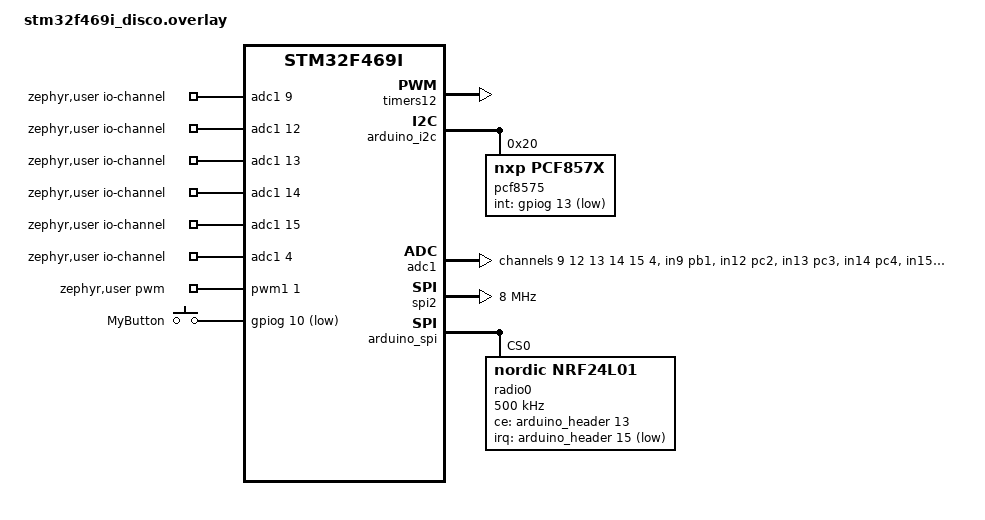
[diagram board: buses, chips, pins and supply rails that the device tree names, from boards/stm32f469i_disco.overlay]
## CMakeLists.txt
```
#-------------------------------------------------------------------------------
# Zephyr Example Application
#
# Copyright (c) 2021 Nordic Semiconductor ASA
# SPDX-License-Identifier: Apache-2.0

cmake_minimum_required(VERSION 3.20.0)
set(SYSCALL_INCLUDE_DIRS "${CMAKE_CURRENT_SOURCE_DIR}/../include")

find_package(Zephyr REQUIRED HINTS $ENV{ZEPHYR_BASE})
include_directories(ui)
project(app LANGUAGES C)
file(GLOB SOURCES src/main.c src/model.c src/platform.h ui/*.h ui/*.c)
target_sources(app PRIVATE ${SOURCES})
```

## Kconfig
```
# Copyright (c) 2021 Nordic Semiconductor ASA
# SPDX-License-Identifier: Apache-2.0
#
# This file is the application Kconfig entry point. All application Kconfig
# options can be defined here or included via other application Kconfig files.
# You can browse these options using the west targets menuconfig (terminal) or
# guiconfig (GUI).

menu "Zephyr"
source "Kconfig.zephyr"
endmenu

config ROLE
	int "Role"
	default "0"
	help
		"Choose which role the device is supposed to take.
		There are three choices, 0, 1 or 2 (Alice, Bob and Eve)."

module = APP
module-str = APP
source "subsys/logging/Kconfig.template.log_config"
```

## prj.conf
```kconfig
# Copyright (c) 2021 Nordic Semiconductor ASA
# SPDX-License-Identifier: Apache-2.0
#
# This file contains selected Kconfig options for the application.

CONFIG_SPI=y
CONFIG_NRF24L01=y
CONFIG_NRF24L01_TRIGGER=y

CONFIG_DMA=y
CONFIG_ADC=y
CONFIG_ADC_STM32_DMA=y
CONFIG_ADC_ASYNC=y
CONFIG_PWM=y

CONFIG_HEAP_MEM_POOL_SIZE=4096

CONFIG_LV_Z_MEM_POOL_SIZE=32768
CONFIG_LV_Z_SHELL=y
CONFIG_MAIN_STACK_SIZE=16384

CONFIG_DISPLAY=y
CONFIG_DISPLAY_LOG_LEVEL_ERR=y

CONFIG_INPUT=y
# CONFIG_INPUT_MODE_THREAD=y

CONFIG_LOG=y
CONFIG_SHELL=y
CONFIG_SYSTEM_WORKQUEUE_PRIORITY=0

CONFIG_GPIO=y
CONFIG_I2C=y
# CONFIG_GPIO_PCF857X=y

CONFIG_SYSTEM_WORKQUEUE_STACK_SIZE=2048

CONFIG_LVGL=y
CONFIG_LV_USE_LOG=y
CONFIG_LV_USE_LABEL=y
CONFIG_LV_USE_ARC=y
#CONFIG_LV_USE_BTN=y
#CONFIG_LV_USE_BTNMATRIX=y
CONFIG_LV_USE_BAR=y
#CONFIG_LV_USE_IMG=y
CONFIG_LV_USE_SWITCH=y
CONFIG_LV_USE_TABVIEW=y
#CONFIG_LV_USE_TAB=y
CONFIG_LV_USE_MONKEY=y
CONFIG_LV_FONT_MONTSERRAT_18=y
CONFIG_LV_FONT_MONTSERRAT_40=y
```

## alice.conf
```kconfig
# Copyright (c) 2021 Nordic Semiconductor ASA
# SPDX-License-Identifier: Apache-2.0
#
# This file contains selected Kconfig options for the application.

CONFIG_SPI=y
CONFIG_NRF24L01=y
CONFIG_NRF24L01_TRIGGER=y

CONFIG_LOG=y
CONFIG_APP_LOG_LEVEL_INF=y
CONFIG_NRF24L01_LOG_LEVEL_ERR=y

CONFIG_ROLE=0
```

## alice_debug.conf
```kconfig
# Copyright (c) 2021 Nordic Semiconductor ASA
# SPDX-License-Identifier: Apache-2.0
#
# This is a Kconfig fragment which can be used to enable debug-related options
# in the application. See the README for more details.
#
CONFIG_SPI=y
CONFIG_NRF24L01=y
CONFIG_NRF24L01_TRIGGER=y

# compiler
CONFIG_DEBUG_OPTIMIZATIONS=y

# console
CONFIG_CONSOLE=y

# UART console
CONFIG_SERIAL=y
CONFIG_UART_CONSOLE=y

# logging
CONFIG_LOG=y
CONFIG_APP_LOG_LEVEL_DBG=y
CONFIG_NRF24L01_LOG_LEVEL_DBG=y

CONFIG_ROLE=0
```

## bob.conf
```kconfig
# Copyright (c) 2021 Nordic Semiconductor ASA
# SPDX-License-Identifier: Apache-2.0
#
# This file contains selected Kconfig options for the application.

CONFIG_SPI=y
CONFIG_NRF24L01=y
CONFIG_NRF24L01_TRIGGER=y

CONFIG_LOG=y
CONFIG_APP_LOG_LEVEL_INF=y
CONFIG_NRF24L01_LOG_LEVEL_ERR=y

CONFIG_ROLE=1
```

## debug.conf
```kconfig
# Copyright (c) 2021 Nordic Semiconductor ASA
# SPDX-License-Identifier: Apache-2.0
#
# This is a Kconfig fragment which can be used to enable debug-related options
# in the application. See the README for more details.
#
CONFIG_SPI=y
CONFIG_NRF24L01=y
CONFIG_NRF24L01_TRIGGER=y

# compiler
CONFIG_DEBUG_OPTIMIZATIONS=y

# console
CONFIG_CONSOLE=y

# UART console
CONFIG_SERIAL=y
CONFIG_UART_CONSOLE=y

# logging
CONFIG_LOG=y
CONFIG_APP_LOG_LEVEL_DBG=y
CONFIG_NRF24L01_LOG_LEVEL_DBG=y
```

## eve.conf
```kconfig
# Copyright (c) 2021 Nordic Semiconductor ASA
# SPDX-License-Identifier: Apache-2.0
#
# This file contains selected Kconfig options for the application.

CONFIG_SPI=y
CONFIG_NRF24L01=y
CONFIG_NRF24L01_TRIGGER=y

CONFIG_LOG=y
CONFIG_APP_LOG_LEVEL_INF=y
CONFIG_NRF24L01_LOG_LEVEL_ERR=y

CONFIG_ROLE=2
```

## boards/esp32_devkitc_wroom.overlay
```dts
/*
 * Copyright (c) 2024 Eve Redero
 * SPDX-License-Identifier: Apache-2.0
 */

&pinctrl {
spim2_default: spim2_default {
		group1 {
			pinmux = <SPIM2_MISO_GPIO2>,
				 <SPIM2_MOSI_GPIO15>,
				 <SPIM2_SCLK_GPIO14>;
		};
	};
};

&spi2 {
	#address-cells = <1>;
	#size-cells = <0>;
	status = "okay";
	pinctrl-0 = <&spim2_default>;
	pinctrl-names = "default";
	cs-gpios = <&gpio0 10 GPIO_ACTIVE_LOW>;

	radio0: propy_radio@0 {
		reg = <0>;
		compatible = "nordic,nrf24l01";
		status = "okay";
		addr-width = <4>;
		spi-max-frequency = <500000>; // Max 8 Mbps for SPI
		ce-gpios = <&gpio0 16 GPIO_ACTIVE_HIGH>;
		irq-gpios = <&gpio0 17 GPIO_ACTIVE_LOW>;
		channel-frequency = <16>;
		rf-power-attenuation = <18>;
		lna-gain;
		tx-address = [e7 e7 e7 e7];
		rx-datapipes-number = <2>;
		rx-datapipe0-address = [e7 e7 e7 e7];
		rx-datapipe1-address = [de ad de ad];
		payload-fixed-size = <32>;
		payload-ack;
		payload-crc;
	};
};
```

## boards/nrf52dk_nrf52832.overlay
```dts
/*
 * Copyright (c) 2024 Eve Redero
 * SPDX-License-Identifier: Apache-2.0
 */

&arduino_spi {
/* MOSI on D11 / P0.23 */
/* CS on D10*/
	radio0: propy_radio@0 {
		reg = <0>;
		compatible = "nordic,nrf24l01";
		status = "okay";
		addr-width = <4>;
		spi-max-frequency = <500000>; // Max 8 Mbps for SPI
		ce-gpios = <&arduino_header 14 GPIO_ACTIVE_HIGH>; /* D8 */
		irq-gpios = <&arduino_header 15 GPIO_ACTIVE_LOW>; /* D9 */
		channel-frequency = <16>;
		rf-power-attenuation = <18>;
		lna-gain;
		tx-address = [e7 e7 e7 e7];
		payload-fixed-size = <32>;
		rx-datapipes-number = <2>;
		rx-datapipe0-address = [e7 e7 e7 e7];
		rx-datapipe1-address = [de ad de ad];
		payload-ack;
		payload-crc;
	};
};
```

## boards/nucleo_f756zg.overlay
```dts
/*
 * Copyright (c) 2024 Eve Redero
 * SPDX-License-Identifier: Apache-2.0
 */

&spi1 {
	pinctrl-0 = <&spi1_sck_pb3 &spi1_miso_pb4 &spi1_mosi_pb5>;
	pinctrl-names = "default";
	cs-gpios = <&gpioa 4 GPIO_ACTIVE_LOW>;
	clock-frequency = <8000000>; // Max 8 Mbps for SPI
	status = "okay";

	radio0: propy_radio@0 {
		reg = <0>;
		addr-width = <4>;
		compatible = "nordic,nrf24l01";
		status = "okay";
		spi-max-frequency = <500000>; // This really sets frequency
		ce-gpios = <&gpiod 15 GPIO_ACTIVE_HIGH>;
		irq-gpios = <&gpiod 14 GPIO_ACTIVE_LOW>;
		channel-frequency = <16>;
		rf-power-attenuation = <18>;
		lna-gain;
		tx-address = [e7 e7 e7 e7];
		payload-fixed-size = <32>;
		rx-datapipes-number = <2>;
		rx-datapipe0-address = [e7 e7 e7 e7];
		rx-datapipe1-address = [de ad de ad];
		payload-ack;
		payload-crc;
	};
};
```

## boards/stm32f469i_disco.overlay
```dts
/*
 * Copyright (c) 2025 Philippe Peurichard
 * SPDX-License-Identifier: Apache-2.0
 */

/ {
	zephyr,user {
		/* adjust channel number according to pinmux in board.dts */
		io-channels = <&adc1 9>, <&adc1 12>,
			<&adc1 13>, <&adc1 14>,
			<&adc1 15>, <&adc1 4>;

		/* period cell corresponds to initial period */
		pwms = <&pwm1 1 PWM_HZ(1000) PWM_POLARITY_NORMAL>;
	};

	gpio_keys {
		compatible = "gpio-keys";

		user_button: button {
			label = "MyButton";
			gpios = <&gpiog 10 (GPIO_ACTIVE_LOW|GPIO_PULL_UP)>;
			/* zephyr,code = <INPUT_KEY_0>;*/
		};
	};
};

&timers12 {
	st,prescaler = <8>;
	status = "okay";

	pwm1: pwm {
		pinctrl-0 = <&tim12_ch1_ph6>;
		pinctrl-names = "default";
		#pwm-cells = <3>;
		status = "okay";
	};
};


/* Activation I2C1 (Arduino connector) */
&arduino_i2c {
    status = "okay";

    pcf8575: gpio_expander@20 {
        compatible = "nxp,pcf857x";
        reg = <0x20>;
        gpio-controller;
        #gpio-cells = <2>;
		ngpios = <16>;
		int-gpios = <&gpiog 13 GPIO_ACTIVE_LOW>;
        status = "okay";
    };
};


&dma2 {
	status = "okay";
};

&adc1 {
	#address-cells = <1>;
	#size-cells = <0>;
	status = "okay";
	pinctrl-0 = <&adc1_in9_pb1>, <&adc1_in12_pc2>,
		<&adc1_in13_pc3>, <&adc1_in14_pc4>,
		<&adc1_in15_pc5>, <&adc1_in4_pa4>;
	pinctrl-names = "default";
	st,adc-prescaler = <2>;

	dmas = <&dma2 0 0 (STM32_DMA_PERIPH_RX | STM32_DMA_PERIPH_16BITS | STM32_DMA_MEM_16BITS ) STM32_DMA_FIFO_FULL>;
	dma-names = "dma";

	channel@9 {
		reg = <9>;
		zephyr,gain = "ADC_GAIN_1";
		zephyr,reference = "ADC_REF_INTERNAL";
		zephyr,acquisition-time = <ADC_ACQ_TIME_MAX>;
		zephyr,resolution = <12>;
	};
	channel@c {
		reg = <0xc>;
		zephyr,gain = "ADC_GAIN_1";
		zephyr,reference = "ADC_REF_INTERNAL";
		zephyr,acquisition-time = <ADC_ACQ_TIME_MAX>;
		zephyr,resolution = <12>;
	};
	channel@d {
		reg = <0xd>;
		zephyr,gain = "ADC_GAIN_1";
		zephyr,reference = "ADC_REF_INTERNAL";
		zephyr,acquisition-time = <ADC_ACQ_TIME_MAX>;
		zephyr,resolution = <12>;
	};
	channel@e {
		reg = <0xe>;
		zephyr,gain = "ADC_GAIN_1";
		zephyr,reference = "ADC_REF_INTERNAL";
		zephyr,acquisition-time = <ADC_ACQ_TIME_MAX>;
		zephyr,resolution = <12>;
	};
	channel@f {
		reg = <0xf>;
		zephyr,gain = "ADC_GAIN_1";
		zephyr,reference = "ADC_REF_INTERNAL";
		zephyr,acquisition-time = <ADC_ACQ_TIME_MAX>;
		zephyr,resolution = <12>;
	};
	channel@4 {
		reg = <4>;
		zephyr,gain = "ADC_GAIN_1";
		zephyr,reference = "ADC_REF_INTERNAL";
		zephyr,acquisition-time = <ADC_ACQ_TIME_MAX>;
		zephyr,resolution = <12>;
	};
};

&spi2 {
	cs-gpios = <&arduino_header 10 (GPIO_ACTIVE_LOW|GPIO_PULL_UP)>;
	clock-frequency = <8000000>; // Max 8 Mbps for SPI

};


&arduino_spi {
	radio0: nrf24@0 {
		reg = <0>;
		compatible = "nordic,nrf24l01";
		status = "okay";
		addr-width = <5>;
		spi-max-frequency = <500000>; // Max 8 Mbps for SPI
		ce-gpios = <&arduino_header 13 GPIO_ACTIVE_HIGH>; /* D7 */
		irq-gpios = <&arduino_header 15 GPIO_ACTIVE_LOW>; /* D9 */
		channel-frequency = <76>;
		lna-gain;
		rf-power-attenuation = <18>;
		tx-address = [01 00 00 00 01]; // [ab cd ab cd 71];
		payload-fixed-size = <32>;
		rx-datapipes-number = <2>;
		rx-datapipe0-address = [01 00 00 00 01]; // [ab cd ab cd 71];
		rx-datapipe1-address = [ff 00 00 00 ff]; // [ab cd ab cd 72];
		/* payload-ack; */
		payload-crc;
		crc-encoding-twobytes;
	};
};
```

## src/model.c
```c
/*
 * model.c
 *
 * Persistent model storage section definition.
 * The model array is placed in a dedicated linker section so it can be
 * stored in flash / read-only storage.
 */

#include "model.h"
#include "vars.h"

#ifndef MODEL_FLASH_SECTION
#define MODEL_FLASH_SECTION __attribute__((section(".rodata.model_data")))
#endif

#include <string.h>

/* Persistent storage for the active model index. A value of 0xFF means
 * "not set" and should cause initialization to the first model (index 0).
 * Placed in the same read-only model data section so tools/linker can
 * locate it in persistent storage imagery.
 */
uint8_t active_model_index = 0xFF;
model_t model_storage[MODEL_MAX_COUNT] = {0};

/**
 * @brief Create a new model slot.
 *
 * Allocates the first available model slot, initializes the channel map
 * data to safe defaults, and stores the model name.
 *
 * @param name Null-terminated model name.
 * @return Model index (0..MODEL_MAX_COUNT-1) on success, 0xFF on error.
 */
uint8_t model_create(const char *name)
{
    for (uint8_t i = 0; i < MODEL_MAX_COUNT; i++) {
        if (model_storage[i].used == false) {
            memset(model_storage[i].name, 0, MODEL_NAME_MAX);
            for (uint8_t j = 0; j < MAX_CHANNELS; j++) {
                model_storage[i].ch[j].min = 0+CALIBRATION_OFFSET;
                model_storage[i].ch[j].max = ADC_MAX_VALUE-CALIBRATION_OFFSET;
                model_storage[i].ch[j].center = ADC_MAX_VALUE / 2;
                model_storage[i].ch[j].input = ADC_MAX_VALUE / 2;
                model_storage[i].ch[j].is_reversed = false;
                model_storage[i].ch[j].map = def_map;
            }
            /* Default CH1..CH4 selections: ROULIS, TANGAGE, GAZ, LACET. */
            model_storage[i].channel_selection[0] = ROULIS;
            model_storage[i].channel_selection[1] = TANGAGE;
            model_storage[i].channel_selection[2] = GAZ;
            model_storage[i].channel_selection[3] = LACET;
            model_storage[i].used = true;
            strncpy(model_storage[i].name, name, MODEL_NAME_MAX - 1);
            model_storage[i].name[MODEL_NAME_MAX - 1] = '\0';
            set_var_device_name(model_storage[i].name);
            set_var_device_list(model_storage[i].name);
            return i;
        }
    }
    return 0xFF; // No available slot
}

/**
 * @brief Find the first used model slot.
 *
 * @return Index of the first used model, or 0xFF if none are in use.
 */
uint8_t model_find_used_index(void)
{
    for (uint8_t i = 0; i < MODEL_MAX_COUNT; i++) {
        if (model_storage[i].used) {
            return i;
        }
    }

    return 0xFF;
}

/**
 * @brief Get a model name by index.
 *
 * @param index Model index.
 * @return Pointer to the model name string, or NULL if invalid or unused.
 */
const char *model_name_get(int index)
{
    if (index < 0 || index >= MODEL_MAX_COUNT){
        return NULL;
    }
    return model_storage[index].name;
}

/**
 * @brief Load the active model channel map.
 *
 * Loads the model identified by the given name into the provided channel map array.
 *
 * @param name Pointer to model name.
 * @param ch_array Destination channel map array.
 * @return active model index or 0xFF in case of error.
 */
uint8_t load_model(const char *model_name, struct channel_map *ch_array)
{
    uint8_t channel_selection[MODEL_SELECTION_COUNT] = {ROULIS, TANGAGE, GAZ, LACET};

	/* Find model by name */
	uint8_t idx = 0xFF;
	for (uint8_t i = 0; i < MODEL_MAX_COUNT; i++) {
		if (strcmp(model_storage[i].name, model_name) == 0) {
			idx = i;
			break;
		}
	}
	if (idx == 0xFF) {
		return 0xFF; // Model not found
	}

	if (idx >= MODEL_MAX_COUNT) {
		return 0xFF;
	}

	memcpy(ch_array, model_storage[idx].ch, sizeof(model_storage[idx].ch));

    memcpy(channel_selection,
               model_storage[idx].channel_selection,
               MODEL_SELECTION_COUNT * sizeof(model_storage[idx].channel_selection[0]));
    set_var_selection1(channel_selection[0]);
	set_var_selection2(channel_selection[1]);
	set_var_selection3(channel_selection[2]);
	set_var_selection4(channel_selection[3]);
    model_storage[idx].used = true; // Ensure the slot is marked as used
    set_var_device_name(model_storage[idx].name);
	
	return 0;
}

/**
 * @brief Save channel map data into an existing model slot.
 *
 * @param index Model index.
 * @param data Pointer to channel map data.
 * @return 0 on success, 1 on invalid index or null data.
 */
uint8_t model_save(int index, const struct channel_map *map, const uint8_t *sel)
{
    if (index >= MODEL_MAX_COUNT || map == NULL || !model_storage[index].used) {
        return 1; // Invalid index, null map, or unused slot
    }
    model_storage[index].used = true; // Ensure the slot is marked as used
    memcpy(model_storage[index].name, get_var_device_name(), MODEL_NAME_MAX);
    memcpy(model_storage[index].ch, map, sizeof(model_storage[index].ch));
    if (sel != NULL) {
        memcpy(model_storage[index].channel_selection,
               sel,
               MODEL_SELECTION_COUNT * sizeof(model_storage[index].channel_selection[0]));
    }
    return 0; // Success
}

/**
 * @brief Remove a model slot 
 * Warning this function does not manage the active_model_index,
 * so if you remove the active model, you should set the
 * active_model_index to 0xFF or another valid index.
 *
 * Marks the model slot as unused and clears its data.
 * @param index Model index to remove.
 * @return 0 on success, 1 on invalid index.
 */
uint8_t model_remove(int index)
{
    if (index >= MODEL_MAX_COUNT) {
        return 1; // Invalid index
    }

    model_storage[index].used = false;
    memset(model_storage[index].name, 0, MODEL_NAME_MAX);
    memset(model_storage[index].ch, 0, sizeof(model_storage[index].ch));

    return 0; // Success
}
```

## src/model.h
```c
/*
 * model.h
 *
 * Simple model management for RC remote controller application.
 * A "model" is a named set of settings (opaque byte buffer).
 * Supports up to MODEL_MAX_COUNT models.
 */
#ifndef RC_REMOTE_CONTROLLER_MODEL_H
#define RC_REMOTE_CONTROLLER_MODEL_H

#include <stdint.h>
#include <stddef.h>
#include <stdbool.h>
#include "platform.h"

#ifdef __cplusplus
extern "C" {
#endif

/* Configuration */
#ifndef MODEL_MAX_COUNT
#define MODEL_MAX_COUNT 6
#endif

#ifndef MODEL_NAME_MAX
#define MODEL_NAME_MAX 32
#endif

#ifndef MODEL_SELECTION_COUNT
#define MODEL_SELECTION_COUNT 4
#endif

/* Channel mapping function type and structure
 * These match the application's channel mapping concept and allow
 * models to store per-channel mapping settings directly.
 */
typedef uint8_t (*map_t)(
    const uint16_t min,
    const uint16_t max,
    const uint16_t center,
          uint16_t data,
    const bool is_reversed);

struct channel_map {
    uint16_t min;
    uint16_t max;
    uint16_t center;
    uint16_t input;
    bool is_reversed;
    map_t map;
};

/* Model stores a named `struct channel_map` as its payload. */
typedef struct {
    bool used;                          /* slot in use */
    char name[MODEL_NAME_MAX];          /* NUL-terminated name */
    struct channel_map ch[MAX_CHANNELS];              /* channel mapping data */
    uint8_t channel_selection[MODEL_SELECTION_COUNT]; /* ch1..ch4 selected source channel */
} model_t;

#ifndef MODEL_FLASH_SECTION
#define MODEL_FLASH_SECTION __attribute__((section(".rodata.model_data")))
#endif

/* The persistent model list is placed in a dedicated linker section.
 * Using `.rodata.model_data` keeps the array in read-only flash storage,
 * and __attribute__((used)) prevents the linker from discarding it.
 */
extern model_t model_storage[MODEL_MAX_COUNT];
extern uint8_t active_model_index;
extern uint8_t def_map(
	const uint16_t min,
	const uint16_t max,
	const uint16_t center,
	      uint16_t data,
	const bool is_reversed);

/* Create a new model with the given name .
 * Returns index (0..MODEL_MAX_COUNT-1) on success or 0xFF on error.
 */
uint8_t model_create(const char *name);

/* Find the first used model slot.
 * Returns the valid index on success or 0xFF if no used model exists.
 */
uint8_t model_find_used_index(void);

/* Overwrite an existing model's data. Returns 0 on success, 1 on error. */
uint8_t model_save(int index, const struct channel_map *map, const uint8_t *sel);

/* Remove a model at index. Returns 0 on success, 1 on error. */
uint8_t model_remove(int index);

/* Get model name by index, or NULL if invalid/unused. */
const char *model_name_get(int index);

/**
 * @brief Load the active model channel map.
 *
 * Loads the model identified by the given name into the provided channel map array.
 *
 * @param name Pointer to model name.
 * @param ch_array Destination channel map array.
 * @return active model index or 0xFF in case of error.
 */
uint8_t load_model(const char *model_name, struct channel_map *ch_array);


#ifdef __cplusplus
}
#endif

#endif /* RC_REMOTE_CONTROLLER_MODEL_H */
```

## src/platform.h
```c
/*
 * Project : rc_remote_controller
 * File    : platform.h
 * Author  : Philippe Peurichard <p.peurichard@gmail.com>
 * Date    : 2026-06-07
 * Brief   : Platform configuration and common macros
 * License : Apache-2.0
 *
 * Copyright (C) 2026 Philippe Peurichard <p.peurichard@gmail.com>
 * SPDX-License-Identifier: Apache-2.0
 */

typedef enum {
	ROULIS = 0,
	TANGAGE = 1,
	GAZ = 2,
	LACET = 3,
	AUX1 = 4,
	AUX2 = 5
} index_name_t;

/* size of stack area used by each thread */
#define STACKSIZE 1024

/* scheduling defaullt priority used for thread */
#define PRIORITY_BUZZER 7
#define PRIORITY_RADIO 6
#define PRIORITY_ADC 5

/* Startup delays for each thread */
#define RADIO_STARTUP_DELAY     500
#define ADC_STARTUP_DELAY       500+RADIO_STARTUP_DELAY
#define BUZZER_STARTUP_DELAY    500+ADC_STARTUP_DELAY


/* Maximum number of channels */
#define MAX_CHANNELS 6

/* Maximum number of auxiliary channels */
#define MAX_AUX_CHANNELS 4


/* Debounce time in milliseconds */
#define DEBOUNCE_TIME_MS 20

/* Payload size for NRF24L01+ communication */
#define PAYLOAD_SIZE 32

/*  ADC Resolution */
#define ADC_RESOLUTION 12
#define ADC_MAX_VALUE ((1 << ADC_RESOLUTION) - 1)
/* Calibration offset for ADC values */
#define CALIBRATION_OFFSET 40*ADC_MAX_VALUE/255 // Example offset, adjust based on actual calibration results

/* PCF8575 is used with buttons, here is the mapping */
#define TRIM_JOYSTICK_ROULIS_UP    0
#define IS_TRIM_JOYSTICK_ROULIS_UP_ACTIVATED(pins) (((pins) & (1 << TRIM_JOYSTICK_ROULIS_UP)) == 0)
#define TRIM_JOYSTICK_ROULIS_DOWN  1
#define IS_TRIM_JOYSTICK_ROULIS_DOWN_ACTIVATED(pins) (((pins) & (1 << TRIM_JOYSTICK_ROULIS_DOWN)) == 0)
#define TRIM_JOYSTICK_TANGAGE_UP   6
#define IS_TRIM_JOYSTICK_TANGAGE_UP_ACTIVATED(pins) (((pins) & (1 << TRIM_JOYSTICK_TANGAGE_UP)) == 0)
#define TRIM_JOYSTICK_TANGAGE_DOWN 7
#define IS_TRIM_JOYSTICK_TANGAGE_DOWN_ACTIVATED(pins) (((pins) & (1 << TRIM_JOYSTICK_TANGAGE_DOWN)) == 0)
#define TRIM_JOYSTICK_LACET_UP     8
#define IS_TRIM_JOYSTICK_LACET_UP_ACTIVATED(pins) (((pins) & (1 << TRIM_JOYSTICK_LACET_UP)) == 0)
#define TRIM_JOYSTICK_LACET_DOWN   9
#define IS_TRIM_JOYSTICK_LACET_DOWN_ACTIVATED(pins) (((pins) & (1 << TRIM_JOYSTICK_LACET_DOWN)) == 0)
#define TRIM_JOYSTICK_GAZ_UP       2
#define IS_TRIM_JOYSTICK_GAZ_UP_ACTIVATED(pins) (((pins) & (1 << TRIM_JOYSTICK_GAZ_UP)) == 0)
#define TRIM_JOYSTICK_GAZ_DOWN     12
#define IS_TRIM_JOYSTICK_GAZ_DOWN_ACTIVATED(pins) (((pins) & (1 << TRIM_JOYSTICK_GAZ_DOWN)) == 0)

#define TRIM_INCREMENT (2*ADC_MAX_VALUE/255) // 2 steps increment for trimming, adjust as needed

// ON/OFF switches
#define SWITCH_SW_1 5
#define IS_SWITCH_SW_1_ACTIVATED(pins) (((pins) & (1 << SWITCH_SW_1)) == 0)
#define SWITCH_SW_2 10
#define IS_SWITCH_SW_2_ACTIVATED(pins) (((pins) & (1 << SWITCH_SW_2)) == 0)
#define SWITCH_SW_3 11
#define IS_SWITCH_SW_3_ACTIVATED(pins) (((pins) & (1 << SWITCH_SW_3)) == 0)
#define SWITCH_SW_4 13
#define IS_SWITCH_SW_4_ACTIVATED(pins) (((pins) & (1 << SWITCH_SW_4)) == 0)


// Push buttons
#define SWITCH_SW_A_UP      3
#define IS_SWITCH_SW_A_UP_ACTIVATED(pins) (((pins) & (1 << SWITCH_SW_A_UP)) == 0)
#define SWITCH_SW_A_DOWN    4
#define IS_SWITCH_SW_A_DOWN_ACTIVATED(pins) (((pins) & (1 << SWITCH_SW_A_DOWN)) == 0)
#define SWITCH_SW_B_UP      14
#define IS_SWITCH_SW_B_UP_ACTIVATED(pins) (((pins) & (1 << SWITCH_SW_B_UP)) == 0)
#define SWITCH_SW_B_DOWN    15
#define IS_SWITCH_SW_B_DOWN_ACTIVATED(pins) (((pins) & (1 << SWITCH_SW_B_DOWN)) == 0)
```
